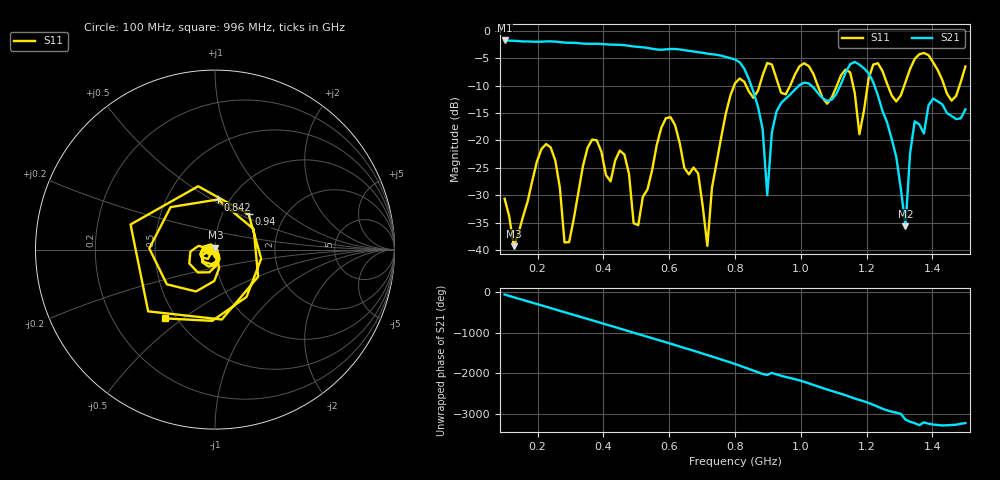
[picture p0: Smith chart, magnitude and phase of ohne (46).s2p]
! NanoVNA-App
! Date: 2025-09-26 09:55:45
! Start: 100MHz Stop: 1,5GHz Points: 101
! S-Parameter data: F S11 S21 S12 S22
# Hz S RI R 50
!  Frequency  S11_Real  S11_Imag  S21_Real  S21_Imag  S12_Real  S12_Imag  S22_Real  S22_Imag
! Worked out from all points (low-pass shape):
!   101 points, 100 MHz to 1.5 GHz, reference 50 ohm
!   highest |S21| = -1.79 dB at 100 MHz (marker M1); lowest = -35.6 dB at 1.318 GHz (marker M2)
!   |S21| within 3 dB of the highest: start of sweep to 771.6 MHz
!   lowest |S11| = -39.3 dB at 128 MHz (marker M3), VSWR 1.02, Z = 50.3 + j1.06 ohm
!   |S11| at or under -10 dB: start of sweep to 797.5 MHz; 833.5 MHz to 874.7 MHz (41.19 MHz wide, 4.82 % of centre); 1.051 GHz to 1.11 GHz (58.39 MHz wide, 5.4 % of centre)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
!   S12 and S22 are empty: the file has one direction only
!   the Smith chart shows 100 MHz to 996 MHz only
!   S11 on the Smith chart (normalised r, x): 100 MHz: 0.94, -0.01; 842 MHz: 0.88, +0.53; 940 MHz: 1.33, +0.56; 996 MHz: 0.44, -0.43
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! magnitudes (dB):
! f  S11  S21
! 100 MHz  -30.6  -1.8
! 128 MHz  -39.3  -1.9
! 212 MHz  -21.6  -2.0
! 282 MHz  -38.6  -2.2
! 338 MHz  -24.7  -2.4
! 464 MHz  -22.6  -2.6
! 506 MHz  -35.4  -3.0
! 576 MHz  -17.7  -3.5
! 716 MHz  -39.2  -4.2
! 800 MHz  -9.6  -5.2
! 842 MHz  -11.1  -8.8
! 898 MHz  -5.9  -30.0
! 940 MHz  -11.3  -13.2
! 996 MHz  -6.5  -9.9
! 1.038 GHz  -7.9  -10.4
! 1.15 GHz  -7.6  -6.1
! 1.178 GHz  -18.9  -6.2
! 1.22 GHz  -6.2  -9.4
! 1.276 GHz  -11.8  -19.7
! 1.318 GHz  -9.4  -35.6
! 1.346 GHz  -5.1  -16.5
! 1.5 GHz  -6.5  -14.4
